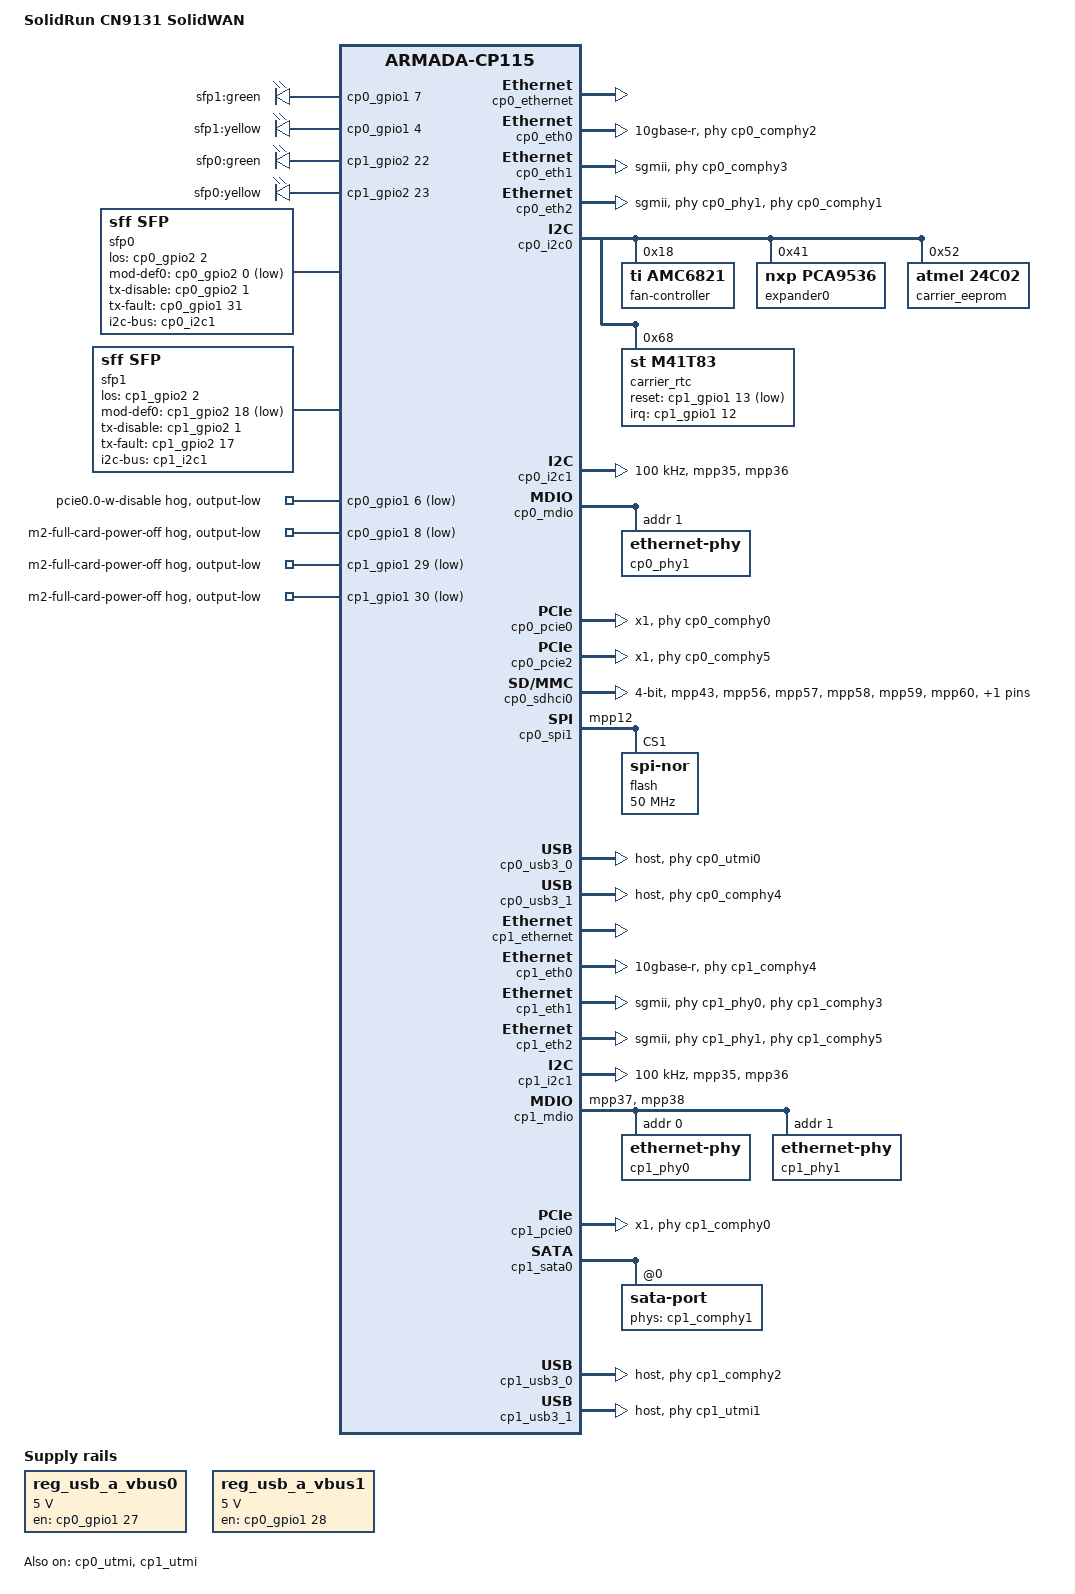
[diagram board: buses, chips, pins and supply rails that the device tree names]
// SPDX-License-Identifier: GPL-2.0+
/*
 * Copyright (C) 2024 Josua Mayer <josua@solid-run.com>
 *
 * DTS for SolidRun CN9130 Clearfog Base.
 *
 */

/dts-v1/;

#include <dt-bindings/input/input.h>
#include <dt-bindings/leds/common.h>

#include "cn9130.dtsi"
#include "cn9130-sr-som.dtsi"

/*
 * Instantiate the external CP115
 */

#define CP11X_NAME		cp1
#define CP11X_BASE		f4000000
#define CP11X_PCIEx_MEM_BASE(iface) (0xe2000000 + (iface * 0x1000000))
#define CP11X_PCIEx_MEM_SIZE(iface) 0xf00000
#define CP11X_PCIE0_BASE	f4600000
#define CP11X_PCIE1_BASE	f4620000
#define CP11X_PCIE2_BASE	f4640000

#include "armada-cp115.dtsi"

#undef CP11X_NAME
#undef CP11X_BASE
#undef CP11X_PCIEx_MEM_BASE
#undef CP11X_PCIEx_MEM_SIZE
#undef CP11X_PCIE0_BASE
#undef CP11X_PCIE1_BASE
#undef CP11X_PCIE2_BASE

/ {
	model = "SolidRun CN9131 SolidWAN";
	compatible = "solidrun,cn9131-solidwan",
		     "solidrun,cn9130-sr-som", "marvell,cn9130";

	aliases {
		ethernet0 = &cp1_eth1;
		ethernet1 = &cp1_eth2;
		ethernet2 = &cp0_eth1;
		ethernet3 = &cp0_eth2;
		ethernet4 = &cp0_eth0;
		ethernet5 = &cp1_eth0;
		gpio0 = &ap_gpio;
		gpio1 = &cp0_gpio1;
		gpio2 = &cp0_gpio2;
		gpio3 = &cp1_gpio1;
		gpio4 = &cp1_gpio2;
		gpio5 = &expander0;
		i2c0 = &cp0_i2c0;
		i2c1 = &cp0_i2c1;
		i2c2 = &cp1_i2c1;
		mmc0 = &ap_sdhci0;
		mmc1 = &cp0_sdhci0;
		rtc0 = &cp0_rtc;
		rtc1 = &carrier_rtc;
	};

	leds {
		compatible = "gpio-leds";
		pinctrl-names = "default";
		pinctrl-0 = <&cp0_led_pins &cp1_led_pins>;

		/* for sfp-1 (J42) */
		led-sfp1-activity {
			label = "sfp1:green";
			gpios = <&cp0_gpio1 7 GPIO_ACTIVE_HIGH>;
		};

		/* for sfp-1 (J42) */
		led-sfp1-link {
			label = "sfp1:yellow";
			gpios = <&cp0_gpio1 4 GPIO_ACTIVE_HIGH>;
		};

		/* (J28) */
		led-sfp0-activity {
			label = "sfp0:green";
			gpios = <&cp1_gpio2 22 GPIO_ACTIVE_HIGH>;
		};

		/* (J28) */
		led-sfp0-link {
			label = "sfp0:yellow";
			gpios = <&cp1_gpio2 23 GPIO_ACTIVE_HIGH>;
		};
	};

	/* Type-A port on J53 */
	reg_usb_a_vbus0: regulator-usb-a-vbus0 {
		compatible = "regulator-fixed";
		pinctrl-0 = <&cp0_reg_usb_a_vbus0_pins>;
		pinctrl-names = "default";
		regulator-name = "vbus0";
		regulator-min-microvolt = <5000000>;
		regulator-max-microvolt = <5000000>;
		gpios = <&cp0_gpio1 27 GPIO_ACTIVE_HIGH>;
		enable-active-high;
		regulator-always-on;
	};

	reg_usb_a_vbus1: regulator-usb-a-vbus1 {
		compatible = "regulator-fixed";
		pinctrl-0 = <&cp0_reg_usb_a_vbus1_pins>;
		pinctrl-names = "default";
		regulator-name = "vbus1";
		regulator-min-microvolt = <5000000>;
		regulator-max-microvolt = <5000000>;
		gpios = <&cp0_gpio1 28 GPIO_ACTIVE_HIGH>;
		enable-active-high;
		regulator-always-on;
	};

	sfp0: sfp-0 {
		compatible = "sff,sfp";
		pinctrl-0 = <&cp0_sfp0_pins>;
		pinctrl-names = "default";
		i2c-bus = <&cp0_i2c1>;
		los-gpios = <&cp0_gpio2 2 GPIO_ACTIVE_HIGH>;
		mod-def0-gpios = <&cp0_gpio2 0 GPIO_ACTIVE_LOW>;
		tx-disable-gpios = <&cp0_gpio2 1 GPIO_ACTIVE_HIGH>;
		tx-fault-gpios = <&cp0_gpio1 31 GPIO_ACTIVE_HIGH>;
		maximum-power-milliwatt = <2000>;
	};

	sfp1: sfp-1 {
		compatible = "sff,sfp";
		pinctrl-0 = <&cp1_sfp1_pins>;
		pinctrl-names = "default";
		i2c-bus = <&cp1_i2c1>;
		los-gpios = <&cp1_gpio2 2 GPIO_ACTIVE_HIGH>;
		mod-def0-gpios = <&cp1_gpio2 18 GPIO_ACTIVE_LOW>;
		tx-disable-gpios = <&cp1_gpio2 1 GPIO_ACTIVE_HIGH>;
		tx-fault-gpios = <&cp1_gpio2 17 GPIO_ACTIVE_HIGH>;
		maximum-power-milliwatt = <2000>;
	};
};

&cp0_ethernet {
	status = "okay";
};

/* SRDS #2 - SFP+ 10GE */
&cp0_eth0 {
	managed = "in-band-status";
	phy-mode = "10gbase-r";
	phys = <&cp0_comphy2 0>;
	sfp = <&sfp0>;
	status = "okay";
};

/* SRDS #3 - SGMII 1GE */
&cp0_eth1 {
	managed = "in-band-status";
	phy-mode = "sgmii";
	/* Without mdio phy access rely on sgmii auto-negotiation. */
	phys = <&cp0_comphy3 1>;
	status = "okay";
};

/* SRDS #1 - SGMII */
&cp0_eth2 {
	/delete-property/ pinctrl-0;
	/delete-property/ pinctrl-names;
	managed = "in-band-status";
	phy-mode = "sgmii";
	phy = <&cp0_phy1>;
	phys = <&cp0_comphy1 2>;
};

&cp0_gpio1 {
	pcie0-0-w-disable-hog {
		gpio-hog;
		gpios = <6 GPIO_ACTIVE_LOW>;
		output-low;
		line-name = "pcie0.0-w-disable";
	};

	/* J34 */
	m2-full-card-power-off-hog {
		gpio-hog;
		gpios = <8 GPIO_ACTIVE_LOW>;
		output-low;
		line-name = "m2-full-card-power-off";
	};
};

&cp0_i2c0 {
	/* assembly option */
	fan-controller@18 {
		compatible = "ti,amc6821";
		reg = <0x18>;
	};

	expander0: gpio@41 {
		compatible = "nxp,pca9536";
		reg = <0x41>;

		usb-a-vbus0-ilimit-hog {
			gpio-hog;
			gpios = <0 GPIO_ACTIVE_LOW>;
			input;
			line-name = "vbus0-ilimit";
		};

		/* duplicate connection, controlled by soc gpio */
		usb-vbus0-enable-hog {
			gpio-hog;
			gpios = <1 GPIO_ACTIVE_HIGH>;
			input;
			line-name = "vbus0-enable";
		};

		usb-a-vbus1-ilimit-hog {
			gpio-hog;
			gpios = <2 GPIO_ACTIVE_LOW>;
			input;
			line-name = "vbus1-ilimit";
		};

		/* duplicate connection, controlled by soc gpio */
		usb-vbus1-enable-hog {
			gpio-hog;
			gpios = <3 GPIO_ACTIVE_HIGH>;
			input;
			line-name = "vbus1-enable";
		};
	};

	carrier_eeprom: eeprom@52 {
		compatible = "atmel,24c02";
		reg = <0x52>;
		pagesize = <8>;
	};

	/* usb-hub@60 */

	/* assembly option */
	carrier_rtc: rtc@68 {
		compatible = "st,m41t83";
		reg = <0x68>;
		pinctrl-0 = <&cp1_rtc_pins>;
		pinctrl-names = "default";
		interrupt-parent = <&cp1_gpio1>;
		interrupts = <12 IRQ_TYPE_EDGE_FALLING>;
		reset-gpios = <&cp1_gpio1 13 GPIO_ACTIVE_LOW>;
	};
};

&cp0_i2c1 {
	/*
	 * Routed to SFP.
	 * Limit to 100kHz for compatibility with SFP modules,
	 * featuring AT24C01A/02/04 at addresses 0x50/0x51.
	 */
	clock-frequency = <100000>;
	pinctrl-0 = <&cp0_i2c1_pins>;
	pinctrl-names = "default";
	status = "okay";
};

&cp0_mdio {
	/*
	 * SoM + Carrier each have a PHY at address 0.
	 * Remove the SoM phy node, and skip adding the carrier node.
	 * SGMII Auto-Negotation is enabled by bootloader for
	 * autonomous operation without mdio control.
	 */
	/delete-node/ ethernet-phy@0;

	/* U17016 */
	cp0_phy1: ethernet-phy@1 {
		reg = <1>;
		/*
		 * Configure LEDs default behaviour:
		 * - LED[0]: link is 1000Mbps: On (yellow)
		 * - LED[1]: link/activity: On/blink (green)
		 * - LED[2]: high impedance (floating)
		 */
		marvell,reg-init = <3 16 0xf000 0x0a17>;

		leds {
			#address-cells = <1>;
			#size-cells = <0>;

			led@0 {
				reg = <0>;
				color = <LED_COLOR_ID_YELLOW>;
				function = LED_FUNCTION_LAN;
				default-state = "keep";
			};

			led@1 {
				reg = <1>;
				color = <LED_COLOR_ID_GREEN>;
				function = LED_FUNCTION_LAN;
				default-state = "keep";
			};
		};
	};
};

/* SRDS #0 - miniPCIe */
&cp0_pcie0 {
	num-lanes = <1>;
	phys = <&cp0_comphy0 0>;
	status = "okay";
};

/* SRDS #5 - M.2 B-Key (J34) */
&cp0_pcie2 {
	num-lanes = <1>;
	phys = <&cp0_comphy5 2>;
	status = "okay";
};

&cp0_pinctrl {
	pinctrl-0 = <&cp0_m2_0_shutdown_pins &cp0_mpcie_rfkill_pins>;
	pinctrl-names = "default";

	cp0_i2c1_pins: cp0-i2c1-pins {
		marvell,pins = "mpp35", "mpp36";
		marvell,function = "i2c1";
	};

	cp0_led_pins: cp0-led-pins {
		marvell,pins = "mpp4", "mpp7";
		marvell,function = "gpio";
	};

	cp0_m2_0_shutdown_pins: cp0-m2-0-shutdown-pins {
		marvell,pins = "mpp8";
		marvell,function = "gpio";
	};

	cp0_mmc0_pins: cp0-mmc0-pins {
		marvell,pins = "mpp43", "mpp56", "mpp57", "mpp58",
			       "mpp59", "mpp60", "mpp61";
		marvell,function = "sdio";
	};

	cp0_mpcie_rfkill_pins: cp0-mpcie-rfkill-pins {
		marvell,pins = "mpp6";
		marvell,function = "gpio";
	};

	cp0_reg_usb_a_vbus0_pins: cp0-reg-usb-a-vbus0-pins {
		marvell,pins = "mpp27";
		marvell,function = "gpio";
	};

	cp0_reg_usb_a_vbus1_pins: cp0-reg-usb-a-vbus1-pins {
		marvell,pins = "mpp28";
		marvell,function = "gpio";
	};

	cp0_sfp0_pins: cp0-sfp0-pins {
		marvell,pins = "mpp31", "mpp32", "mpp33", "mpp34";
		marvell,function = "gpio";
	};

	cp0_spi1_cs1_pins: cp0-spi1-cs1-pins {
		marvell,pins = "mpp12";
		marvell,function = "spi1";
	};
};

/* microSD */
&cp0_sdhci0 {
	pinctrl-0 = <&cp0_mmc0_pins>;
	pinctrl-names = "default";
	bus-width = <4>;
	no-1-8-v;
	status = "okay";
};

&cp0_spi1 {
	/* add pin for chip-select 1 */
	pinctrl-0 = <&cp0_spi1_pins &cp0_spi1_cs1_pins>;

	flash@1 {
		compatible = "jedec,spi-nor";
		reg = <1>;
		/* read command supports max. 50MHz */
		spi-max-frequency = <50000000>;
	};
};

/* USB-2.0 Host to USB-Hub */
&cp0_usb3_0 {
	phys = <&cp0_utmi0>;
	phy-names = "utmi";
	dr_mode = "host";
	status = "okay";
};

/* SRDS #4 - USB-3.0 Host to USB-Hub */
&cp0_usb3_1 {
	phys = <&cp0_comphy4 1>, <&cp0_utmi1>;
	phy-names = "comphy", "utmi";
	dr_mode = "host";
	status = "okay";
};

&cp0_utmi {
	status = "okay";
};

&cp0_utmi1 {
	status = "disabled";
};

&cp1_ethernet {
	status = "okay";
};

/* SRDS #4 - SFP+ 10GE */
&cp1_eth0 {
	managed = "in-band-status";
	phy-mode = "10gbase-r";
	phys = <&cp1_comphy4 0>;
	sfp = <&sfp1>;
	status = "okay";
};

/* SRDS #3 - SGMII 1GE */
&cp1_eth1 {
	managed = "in-band-status";
	phy-mode = "sgmii";
	phy = <&cp1_phy0>;
	phys = <&cp1_comphy3 1>;
	status = "okay";
};

/* SRDS #5 - SGMII 1GE */
&cp1_eth2 {
	managed = "in-band-status";
	phy-mode = "sgmii";
	phy = <&cp1_phy1>;
	phys = <&cp1_comphy5 2>;
	status = "okay";
};

&cp1_gpio1 {
	status = "okay";

	/* J30 */
	m2-full-card-power-off-hog-0 {
		gpio-hog;
		gpios = <29 GPIO_ACTIVE_LOW>;
		output-low;
		line-name = "m2-full-card-power-off";
	};

	/* J44 */
	m2-full-card-power-off-hog-1 {
		gpio-hog;
		gpios = <30 GPIO_ACTIVE_LOW>;
		output-low;
		line-name = "m2-full-card-power-off";
	};
};

&cp1_gpio2 {
	status = "okay";
};

&cp1_i2c1 {
	/*
	 * Routed to SFP.
	 * Limit to 100kHz for compatibility with SFP modules,
	 * featuring AT24C01A/02/04 at addresses 0x50/0x51.
	 */
	clock-frequency = <100000>;
	pinctrl-0 = <&cp1_i2c1_pins>;
	pinctrl-names = "default";
	status = "okay";
};

&cp1_mdio {
	pinctrl-0 = <&cp1_mdio_pins>;
	pinctrl-names = "default";
	status = "okay";

	cp1_phy0: ethernet-phy@0 {
		reg = <0>;
		/*
		 * Configure LEDs default behaviour:
		 * - LED[0]: link is 1000Mbps: On (yellow)
		 * - LED[1]: link/activity: On/blink (green)
		 * - LED[2]: high impedance (floating)
		 */
		marvell,reg-init = <3 16 0xf000 0x0a17>;

		leds {
			#address-cells = <1>;
			#size-cells = <0>;

			led@0 {
				reg = <0>;
				color = <LED_COLOR_ID_YELLOW>;
				function = LED_FUNCTION_LAN;
				default-state = "keep";
			};

			led@1 {
				reg = <1>;
				color = <LED_COLOR_ID_GREEN>;
				function = LED_FUNCTION_LAN;
				default-state = "keep";
			};
		};
	};

	cp1_phy1: ethernet-phy@1 {
		reg = <1>;
		/*
		 * Configure LEDs default behaviour:
		 * - LED[0]: link is 1000Mbps: On (yellow)
		 * - LED[1]: link/activity: On/blink (green)
		 * - LED[2]: high impedance (floating)
		 */
		marvell,reg-init = <3 16 0xf000 0x0a17>;

		leds {
			#address-cells = <1>;
			#size-cells = <0>;

			led@0 {
				reg = <0>;
				color = <LED_COLOR_ID_YELLOW>;
				function = LED_FUNCTION_LAN;
				default-state = "keep";
			};

			led@1 {
				reg = <1>;
				color = <LED_COLOR_ID_GREEN>;
				function = LED_FUNCTION_LAN;
				default-state = "keep";
			};
		};
	};
};

/* SRDS #0 - M.2 (J30) */
&cp1_pcie0 {
	num-lanes = <1>;
	phys = <&cp1_comphy0 0>;
	status = "okay";
};

&cp1_rtc {
	status = "disabled";
};

/* SRDS #1 - SATA on M.2 (J44) */
&cp1_sata0 {
	status = "okay";

	/* only port 0 is available */
	sata-port@0 {
		phys = <&cp1_comphy1 0>;
		status = "okay";
	};
};

&cp1_syscon0 {
	cp1_pinctrl: pinctrl {
		compatible = "marvell,cp115-standalone-pinctrl";
		pinctrl-0 = <&cp1_m2_1_shutdown_pins &cp1_m2_2_shutdown_pins>;
		pinctrl-names = "default";

		cp1_i2c1_pins: cp0-i2c1-pins {
			marvell,pins = "mpp35", "mpp36";
			marvell,function = "i2c1";
		};

		cp1_led_pins: cp1-led-pins {
			marvell,pins = "mpp54", "mpp55";
			marvell,function = "gpio";
		};

		cp1_m2_1_shutdown_pins: cp1-m2-1-shutdown-pins {
			marvell,pins = "mpp29";
			marvell,function = "gpio";
		};

		cp1_m2_2_shutdown_pins: cp1-m2-2-shutdown-pins {
			marvell,pins = "mpp30";
			marvell,function = "gpio";
		};

		cp1_mdio_pins: cp1-mdio-pins {
			marvell,pins = "mpp37", "mpp38";
			marvell,function = "ge";
		};

		cp1_rtc_pins: cp1-rtc-pins {
			marvell,pins = "mpp12", "mpp13";
			marvell,function = "gpio";
		};

		cp1_sfp1_pins: cp1-sfp1-pins {
			marvell,pins = "mpp33", "mpp34", "mpp49", "mpp50";
			marvell,function = "gpio";
		};
	};
};

/*
 * SRDS #2 - USB-3.0 Host to M.2 (J44)
 * USB-2.0 Host to M.2 (J30)
 */
&cp1_usb3_0 {
	phys = <&cp1_comphy2 0>, <&cp1_utmi0>;
	phy-names = "comphy", "utmi";
	dr_mode = "host";
	status = "okay";
};

/* USB-2.0 Host to M.2 (J44) */
&cp1_usb3_1 {
	phys = <&cp1_utmi1>;
	phy-names = "utmi";
	dr_mode = "host";
	status = "okay";
};

&cp1_utmi {
	status = "okay";
};
